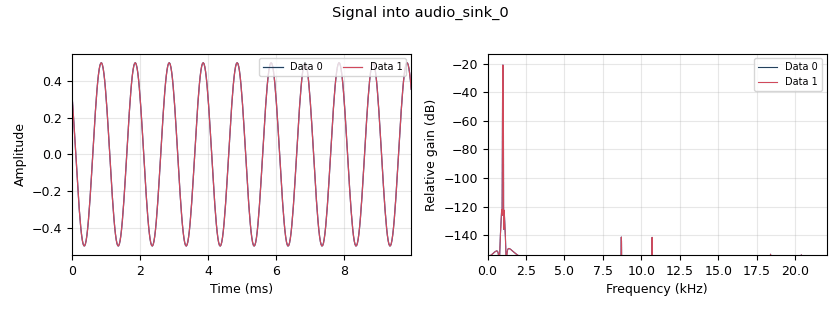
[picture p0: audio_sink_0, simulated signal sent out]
<?xml version='1.0' encoding='utf-8'?>
<?grc format='1' created='3.7.10'?>
<flow_graph>
<block>
<key>options</key>
<param><key>id</key><value>vibrate</value></param>
<param><key>author</key><value>Peter F Bradshaw</value></param>
<param><key>description</key><value>A simple audio source to vibrate the canopy</value></param>
<param><key>generate_options</key><value>qt_gui</value></param>
<param><key>title</key><value>Canopy Vibrator</value></param>
</block>
<block>
<key>variable</key>
<param><key>id</key><value>samp_rate</value></param>
<param><key>value</key><value>44100</value></param>
</block>
<block>
<key>variable_qtgui_range</key>
<param><key>id</key><value>source_amplitude</value></param>
<param><key>value</key><value>0.5</value></param>
<param><key>label</key><value>Source Amplitude</value></param>
<param><key>orient</key><value>Qt.Horizontal</value></param>
<param><key>start</key><value>0</value></param>
<param><key>step</key><value>0.01</value></param>
<param><key>stop</key><value>1</value></param>
</block>
<block>
<key>variable_qtgui_range</key>
<param><key>id</key><value>source_frequency</value></param>
<param><key>value</key><value>1000</value></param>
<param><key>label</key><value>Source Frequency</value></param>
<param><key>orient</key><value>Qt.Horizontal</value></param>
<param><key>start</key><value>100</value></param>
<param><key>step</key><value>10</value></param>
<param><key>stop</key><value>10000</value></param>
<param><key>rangeType</key><value>int</value></param>
</block>
<block>
<key>analog_sig_source_x</key>
<param><key>id</key><value>analog_sig_source_x_0</value></param>
<param><key>amp</key><value>source_amplitude</value></param>
<param><key>freq</key><value>source_frequency</value></param>
<param><key>offset</key><value>0</value></param>
<param><key>type</key><value>float</value></param>
<param><key>samp_rate</key><value>samp_rate</value></param>
<param><key>waveform</key><value>analog.GR_COS_WAVE</value></param>
</block>
<block>
<key>analog_sig_source_x</key>
<param><key>id</key><value>analog_sig_source_x_1</value></param>
<param><key>amp</key><value>source_amplitude</value></param>
<param><key>freq</key><value>source_frequency</value></param>
<param><key>offset</key><value>0</value></param>
<param><key>type</key><value>float</value></param>
<param><key>samp_rate</key><value>samp_rate</value></param>
<param><key>waveform</key><value>analog.GR_COS_WAVE</value></param>
</block>
<block>
<key>audio_sink</key>
<param><key>id</key><value>audio_sink_0</value></param>
<param><key>num_inputs</key><value>2</value></param>
<param><key>samp_rate</key><value>samp_rate</value></param>
</block>
<connection><source_block_id>analog_sig_source_x_0</source_block_id><sink_block_id>audio_sink_0</sink_block_id><source_key>0</source_key><sink_key>0</sink_key></connection>
<connection><source_block_id>analog_sig_source_x_1</source_block_id><sink_block_id>audio_sink_0</sink_block_id><source_key>0</source_key><sink_key>1</sink_key></connection>
</flow_graph>
